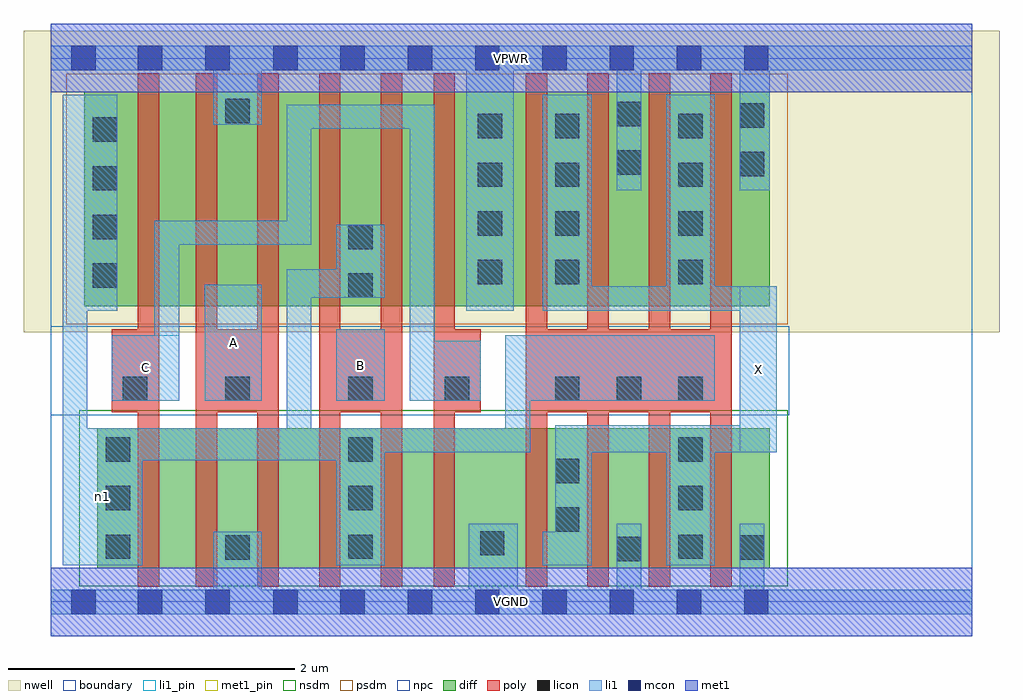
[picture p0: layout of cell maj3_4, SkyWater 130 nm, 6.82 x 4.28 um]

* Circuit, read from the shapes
.subckt maj3_4 A B C VGND VPWR X n1
XM1 n2 C n1 VSUBS sky130_fd_pr__nfet_01v8 w=0.98 l=0.15
XM2 VGND A n2 VSUBS sky130_fd_pr__nfet_01v8 w=0.98 l=0.15
XM3 n3 A VGND VSUBS sky130_fd_pr__nfet_01v8 w=0.98 l=0.15
XM4 n1 B n3 VSUBS sky130_fd_pr__nfet_01v8 w=0.98 l=0.15
XM5 n4 B n1 VSUBS sky130_fd_pr__nfet_01v8 w=0.98 l=0.15
XM6 VGND C n4 VSUBS sky130_fd_pr__nfet_01v8 w=0.98 l=0.15
XM7 X n1 VGND VSUBS sky130_fd_pr__nfet_01v8 w=0.98 l=0.15 m=4
XM8 n5 C n1 n6 sky130_fd_pr__pfet_01v8 w=1.5 l=0.15
XM9 VPWR A n5 n6 sky130_fd_pr__pfet_01v8 w=1.5 l=0.15
XM10 n7 A VPWR n6 sky130_fd_pr__pfet_01v8 w=1.5 l=0.15
XM11 n1 B n7 n6 sky130_fd_pr__pfet_01v8 w=1.5 l=0.15
XM12 n8 B n1 n6 sky130_fd_pr__pfet_01v8 w=1.5 l=0.15
XM13 VPWR C n8 n6 sky130_fd_pr__pfet_01v8 w=1.5 l=0.15
XM14 X n1 VPWR n6 sky130_fd_pr__pfet_01v8 w=1.5 l=0.15 m=4
.ends

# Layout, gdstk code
import gdstk
lib = gdstk.Library(unit=1e-6, precision=1e-09)
def R(c, l, rs):  # rectangles x0, y0, x1, y1
    for r in rs: c.add(gdstk.rectangle(r[:2], r[2:], *l))
def A(c, l, x, y, w, h, nx, ny, dx, dy):  # array of equal rectangles
    R(c, l, [(x+i*dx, y+j*dy, x+i*dx+w, y+j*dy+h) for i in range(nx) for j in range(ny)])
nwell = (64, 20)
diff = (65, 20)
poly = (66, 20)
licon = (66, 44)
li1_pin = (67, 16)
li1 = (67, 20)
mcon = (67, 44)
met1_pin = (68, 16)
met1 = (68, 20)
nsdm = (93, 44)
psdm = (94, 20)
npc = (95, 20)
boundary = (235, 4)

maj3_4 = lib.new_cell('maj3_4')
R(maj3_4, nwell, [(-0.19,1.885,6.63,3.99), (0,1.885,6.44,3.99)])
R(maj3_4, diff, [(0.325,0.235,5.025,1.215), (0.235,2.065,5.025,3.565)])
A(maj3_4, poly, 1.015, 0.105, 0.15, 3.59, 4, 1, 0.43, 0)
A(maj3_4, poly, 3.32, 0.105, 0.15, 3.59, 4, 1, 0.43, 0)
R(maj3_4, poly, [(0.61,0.105,0.76,3.695), (2.675,0.105,2.825,3.695), (0.425,1.325,0.76,1.905), (1.015,1.325,1.595,1.905), (1.875,1.325,2.455,1.905), (2.675,1.325,3.005,1.905), (3.32,1.325,4.76,1.905)])
A(maj3_4, licon, 0.385, 0.3, 0.17, 0.17, 1, 3, 0, 0.34)
A(maj3_4, licon, 2.08, 0.3, 0.17, 0.17, 1, 3, 0, 0.34)
A(maj3_4, licon, 4.385, 0.3, 0.17, 0.17, 1, 3, 0, 0.34)
A(maj3_4, licon, 3.525, 1.405, 0.17, 0.17, 3, 1, 0.43, 0)
A(maj3_4, licon, 0.295, 2.195, 0.17, 0.17, 1, 4, 0, 0.34)
A(maj3_4, licon, 2.985, 2.22, 0.17, 0.17, 1, 4, 0, 0.34)
A(maj3_4, licon, 3.525, 2.22, 0.17, 0.17, 1, 4, 0, 0.34)
A(maj3_4, licon, 4.385, 2.22, 0.17, 0.17, 1, 4, 0, 0.34)
R(maj3_4, licon, [(3.955,0.285,4.125,0.455), (1.22,0.295,1.39,0.465), (4.815,0.295,4.985,0.465), (3,0.325,3.17,0.495), (3.525,0.49,3.695,0.66), (3.525,0.83,3.695,1), (0.505,1.405,0.675,1.575), (1.22,1.405,1.39,1.575), (2.08,1.405,2.25,1.575), (2.755,1.405,2.925,1.575), (2.08,2.125,2.25,2.295), (2.08,2.465,2.25,2.635), (4.815,2.975,4.985,3.145), (3.955,2.985,4.125,3.155), (4.815,3.315,4.985,3.485), (3.955,3.325,4.125,3.495), (1.22,3.345,1.39,3.515)])
R(maj3_4, li1_pin, [(4.815,1.045,5.075,2.205), (0.425,1.405,0.9,1.865), (1.075,1.405,1.475,2.215), (1.995,1.405,2.335,1.905)])
R(maj3_4, li1, [(0,-0.085,6.44,0.085), (1.135,-0.085,1.475,0.49), (2.92,-0.085,3.265,0.545), (3.955,-0.085,4.125,0.545), (4.815,-0.085,4.985,0.545), (0.085,0.255,0.64,1.215), (0.085,0.255,0.255,3.545), (1.995,0.255,2.335,1.215), (3.44,0.255,3.78,0.49), (3.525,0.255,3.78,1.235), (4.3,0.255,4.64,1.235), (0.085,0.99,2.335,1.215), (1.65,0.99,1.82,2.325), (0.085,1.045,3.35,1.215), (3.175,1.045,3.35,1.865), (3.525,1.045,5.075,1.235), (4.815,1.045,5.075,2.205), (0.425,1.405,0.9,1.865), (0.725,1.405,0.9,2.665), (1.075,1.405,1.475,2.215), (1.995,1.405,2.335,1.905), (2.51,1.405,2.685,3.475), (2.51,1.405,3.005,1.825), (3.175,1.405,4.64,1.865), (0.085,2.035,0.465,3.545), (2.905,2.035,3.235,3.885), (3.44,2.035,3.78,3.545), (3.44,2.035,5.075,2.205), (4.3,2.035,4.64,3.545), (1.65,2.125,2.335,2.325), (1.995,2.125,2.335,2.635), (0.725,2.495,1.82,2.665), (1.65,2.495,1.82,3.475), (3.955,2.875,4.125,3.885), (4.815,2.875,5.025,3.885), (1.65,3.305,2.685,3.475), (1.135,3.335,1.475,3.885), (0,3.715,6.44,3.885)])
A(maj3_4, mcon, 1.555, -0.085, 0.17, 0.17, 8, 2, 0.47, 3.8)
R(maj3_4, mcon, [(0.145,-0.085,0.315,0.085), (0.61,-0.085,0.78,0.085), (1.08,-0.085,1.25,0.085), (0.145,3.715,0.315,3.885), (0.61,3.715,0.78,3.885), (1.08,3.715,1.25,3.885)])
R(maj3_4, met1_pin, [(0,-0.24,6.44,0.24), (0,3.56,6.44,4.04)])
R(maj3_4, met1, [(0,-0.24,6.44,0.24), (0,3.56,6.44,4.04)])
R(maj3_4, nsdm, [(0.2,0.11,5.15,1.34)])
R(maj3_4, psdm, [(0.11,1.94,5.15,3.69)])
R(maj3_4, npc, [(0,1.305,5.16,1.925)])
R(maj3_4, boundary, [(0,0,6.44,3.8)])
maj3_4.add(gdstk.Label('A', (1.275,1.81), layer=67, texttype=5))
maj3_4.add(gdstk.Label('B', (2.165,1.655), layer=67, texttype=5))
maj3_4.add(gdstk.Label('C', (0.662,1.635), layer=67, texttype=5))
maj3_4.add(gdstk.Label('X', (4.945,1.625), layer=67, texttype=5))
maj3_4.add(gdstk.Label('n1', (0.362,0.735), layer=67, texttype=5))
maj3_4.add(gdstk.Label('VPWR', (3.22,3.8), layer=68, texttype=5))
maj3_4.add(gdstk.Label('VGND', (3.22,0), layer=68, texttype=5))
maj3_4.add(gdstk.Label('A', (1.275,1.81), layer=67, texttype=16))
maj3_4.add(gdstk.Label('B', (2.165,1.655), layer=67, texttype=16))
maj3_4.add(gdstk.Label('C', (0.662,1.635), layer=67, texttype=16))
maj3_4.add(gdstk.Label('X', (4.945,1.625), layer=67, texttype=16))
maj3_4.add(gdstk.Label('VPWR', (3.22,3.8), layer=68, texttype=16))
maj3_4.add(gdstk.Label('VGND', (3.22,0), layer=68, texttype=16))

lib.write_gds('maj3_4.gds')
